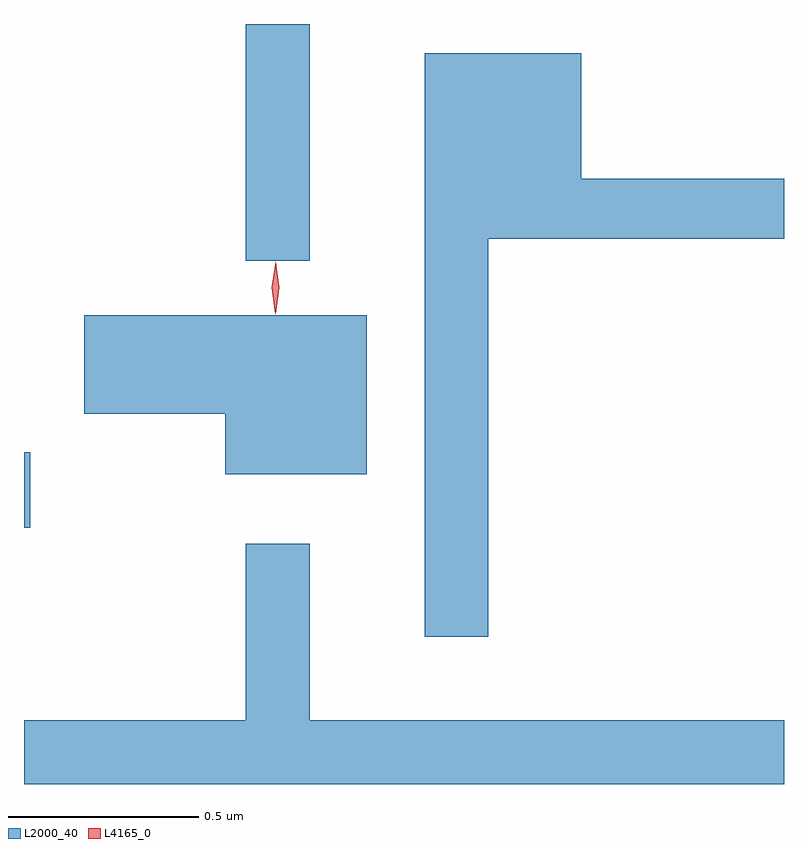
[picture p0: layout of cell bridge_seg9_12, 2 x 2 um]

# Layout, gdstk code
import gdstk
lib = gdstk.Library(unit=1e-6, precision=1e-09)
def R(c, l, rs):  # rectangles x0, y0, x1, y1
    for r in rs: c.add(gdstk.rectangle(r[:2], r[2:], *l))
def P(c, l, *ps):  # polygons
    for p in ps: c.add(gdstk.Polygon(p, *l))
L2000_40 = (2000, 40)
L4165_0 = (4165, 0)

bridge_seg9_12 = lib.new_cell('bridge_seg9_12')
R(bridge_seg9_12, L2000_40, [(1720.297,2014.791,1720.314,2014.989), (1720.881,2015.493,1721.049,2016.116)])
P(bridge_seg9_12, L2000_40, [(1721.519,2015.551),(1722.297,2015.551),(1722.297,2015.709),(1721.764,2015.709),(1721.764,2016.039),(1721.351,2016.039),(1721.351,2014.503),(1721.519,2014.503)],
  [(1721.199,2015.349),(1720.456,2015.349),(1720.456,2015.091),(1720.826,2015.091),(1720.826,2014.931),(1721.199,2014.931)],
  [(1722.297,2014.284),(1721.049,2014.284),(1721.049,2014.748),(1720.881,2014.748),(1720.881,2014.284),(1720.297,2014.284),(1720.297,2014.116),(1722.297,2014.116)])
P(bridge_seg9_12, L4165_0, [(1720.958,2015.354),(1720.958,2015.354),(1720.949,2015.422),(1720.959,2015.49),(1720.96,2015.49),(1720.96,2015.49),(1720.969,2015.422),(1720.959,2015.354)],
  [(1720.958,2015.36),(1720.957,2015.361),(1720.949,2015.424),(1720.959,2015.486),(1720.96,2015.487),(1720.96,2015.486),(1720.969,2015.423),(1720.958,2015.361)])

lib.write_gds('bridge_seg9_12.gds')
